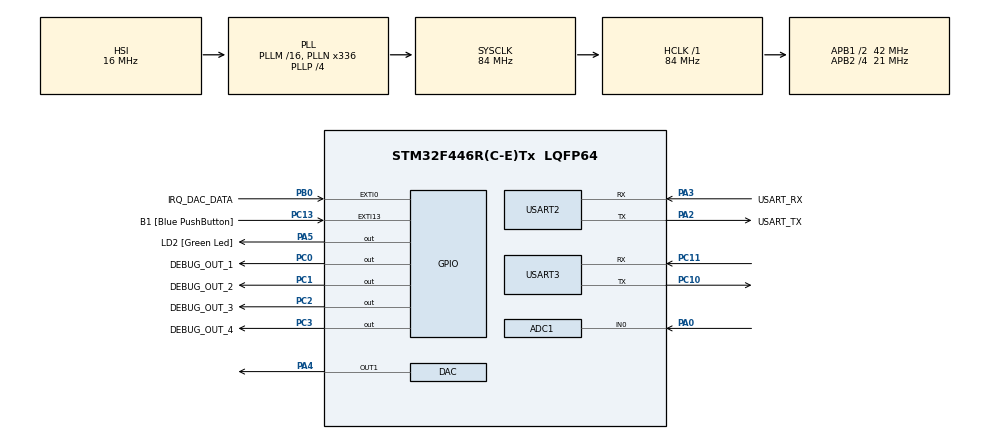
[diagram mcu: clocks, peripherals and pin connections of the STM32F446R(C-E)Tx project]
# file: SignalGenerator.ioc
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ADC1.Channel-1\#ChannelRegularConversion=ADC_CHANNEL_0
ADC1.Channel-10\#ChannelRegularConversion=ADC_CHANNEL_0
ADC1.Channel-11\#ChannelRegularConversion=ADC_CHANNEL_0
ADC1.Channel-12\#ChannelRegularConversion=ADC_CHANNEL_0
ADC1.Channel-13\#ChannelRegularConversion=ADC_CHANNEL_0
ADC1.Channel-14\#ChannelRegularConversion=ADC_CHANNEL_0
ADC1.Channel-15\#ChannelRegularConversion=ADC_CHANNEL_0
ADC1.Channel-16\#ChannelRegularConversion=ADC_CHANNEL_0
ADC1.Channel-2\#ChannelRegularConversion=ADC_CHANNEL_0
ADC1.Channel-3\#ChannelRegularConversion=ADC_CHANNEL_0
ADC1.Channel-4\#ChannelRegularConversion=ADC_CHANNEL_0
ADC1.Channel-5\#ChannelRegularConversion=ADC_CHANNEL_0
ADC1.Channel-6\#ChannelRegularConversion=ADC_CHANNEL_0
ADC1.Channel-7\#ChannelRegularConversion=ADC_CHANNEL_0
ADC1.Channel-8\#ChannelRegularConversion=ADC_CHANNEL_0
ADC1.Channel-9\#ChannelRegularConversion=ADC_CHANNEL_0
ADC1.ClockPrescaler=ADC_CLOCK_SYNC_PCLK_DIV8
ADC1.ContinuousConvMode=ENABLE
ADC1.DMAContinuousRequests=ENABLE
ADC1.NbrOfConversion=16
ADC1.NbrOfConversionFlag=1
ADC1.Rank-1\#ChannelRegularConversion=1
ADC1.Rank-10\#ChannelRegularConversion=10
ADC1.Rank-11\#ChannelRegularConversion=11
ADC1.Rank-12\#ChannelRegularConversion=12
ADC1.Rank-13\#ChannelRegularConversion=13
ADC1.Rank-14\#ChannelRegularConversion=14
ADC1.Rank-15\#ChannelRegularConversion=15
ADC1.Rank-16\#ChannelRegularConversion=16
ADC1.Rank-2\#ChannelRegularConversion=2
ADC1.Rank-3\#ChannelRegularConversion=3
ADC1.Rank-4\#ChannelRegularConversion=4
ADC1.Rank-5\#ChannelRegularConversion=5
ADC1.Rank-6\#ChannelRegularConversion=6
ADC1.Rank-7\#ChannelRegularConversion=7
ADC1.Rank-8\#ChannelRegularConversion=8
ADC1.Rank-9\#ChannelRegularConversion=9
ADC1.Resolution=ADC_RESOLUTION_8B
ADC1.SamplingTime-1\#ChannelRegularConversion=ADC_SAMPLETIME_480CYCLES
ADC1.SamplingTime-10\#ChannelRegularConversion=ADC_SAMPLETIME_3CYCLES
ADC1.SamplingTime-11\#ChannelRegularConversion=ADC_SAMPLETIME_3CYCLES
ADC1.SamplingTime-12\#ChannelRegularConversion=ADC_SAMPLETIME_3CYCLES
ADC1.SamplingTime-13\#ChannelRegularConversion=ADC_SAMPLETIME_3CYCLES
ADC1.SamplingTime-14\#ChannelRegularConversion=ADC_SAMPLETIME_3CYCLES
ADC1.SamplingTime-15\#ChannelRegularConversion=ADC_SAMPLETIME_3CYCLES
ADC1.SamplingTime-16\#ChannelRegularConversion=ADC_SAMPLETIME_3CYCLES
ADC1.SamplingTime-2\#ChannelRegularConversion=ADC_SAMPLETIME_3CYCLES
ADC1.SamplingTime-3\#ChannelRegularConversion=ADC_SAMPLETIME_3CYCLES
ADC1.SamplingTime-4\#ChannelRegularConversion=ADC_SAMPLETIME_3CYCLES
ADC1.SamplingTime-5\#ChannelRegularConversion=ADC_SAMPLETIME_3CYCLES
ADC1.SamplingTime-6\#ChannelRegularConversion=ADC_SAMPLETIME_3CYCLES
ADC1.SamplingTime-7\#ChannelRegularConversion=ADC_SAMPLETIME_3CYCLES
ADC1.SamplingTime-8\#ChannelRegularConversion=ADC_SAMPLETIME_3CYCLES
ADC1.SamplingTime-9\#ChannelRegularConversion=ADC_SAMPLETIME_3CYCLES
ADC1.master=1
Dma.ADC1.0.Direction=DMA_PERIPH_TO_MEMORY
Dma.ADC1.0.FIFOMode=DMA_FIFOMODE_DISABLE
Dma.ADC1.0.Instance=DMA2_Stream0
Dma.ADC1.0.MemDataAlignment=DMA_MDATAALIGN_HALFWORD
Dma.ADC1.0.MemInc=DMA_MINC_ENABLE
Dma.ADC1.0.Mode=DMA_NORMAL
Dma.ADC1.0.PeriphDataAlignment=DMA_PDATAALIGN_HALFWORD
Dma.ADC1.0.PeriphInc=DMA_PINC_DISABLE
Dma.ADC1.0.Priority=DMA_PRIORITY_MEDIUM
Dma.Request0=ADC1
Mcu.Family=STM32F4
Mcu.Name=STM32F446R(C-E)Tx
Mcu.Package=LQFP64
NVIC.DMA2_Stream0_IRQn=true\:0\:0\:false\:false\:true\:false\:true
NVIC.EXTI0_IRQn=true\:0\:0\:false\:false\:true\:true\:true
NVIC.PriorityGroup=NVIC_PRIORITYGROUP_0
NVIC.TIM6_DAC_IRQn=true\:0\:0\:false\:false\:true\:true\:true
NVIC.TIM7_IRQn=true\:0\:0\:false\:false\:true\:true\:true
PA0-WKUP.Signal=ADCx_IN0
PA13.GPIO_Label=TMS
PA13.Mode=Serial_Wire
PA13.Signal=SYS_JTMS-SWDIO
PA14.GPIO_Label=TCK
PA14.Mode=Serial_Wire
PA14.Signal=SYS_JTCK-SWCLK
PA2.GPIO_Label=USART_TX
PA2.Mode=Asynchronous
PA2.Signal=USART2_TX
PA3.GPIO_Label=USART_RX
PA3.Mode=Asynchronous
PA3.Signal=USART2_RX
PA4.Signal=COMP_DAC1_group
PA5.GPIO_Label=LD2 [Green Led]
PA5.Signal=GPIO_Output
PB0.GPIO_Label=IRQ_DAC_DATA
PB0.Signal=GPXTI0
PB3.GPIO_Label=SWO
PB3.Signal=SYS_JTDO-SWO
PC0.GPIO_Label=DEBUG_OUT_1
PC0.Signal=GPIO_Output
PC1.GPIO_Label=DEBUG_OUT_2
PC1.Signal=GPIO_Output
PC10.Mode=Asynchronous
PC10.Signal=USART3_TX
PC11.Mode=Asynchronous
PC11.Signal=USART3_RX
PC13.GPIO_Label=B1 [Blue PushButton]
PC13.GPIO_ModeDefaultEXTI=GPIO_MODE_IT_FALLING
PC13.Signal=GPXTI13
PC14-OSC32_IN.Mode=LSE-External-Oscillator
PC14-OSC32_IN.Signal=RCC_OSC32_IN
PC15-OSC32_OUT.Mode=LSE-External-Oscillator
PC15-OSC32_OUT.Signal=RCC_OSC32_OUT
PC2.GPIO_Label=DEBUG_OUT_3
PC2.Signal=GPIO_Output
PC3.GPIO_Label=DEBUG_OUT_4
PC3.Signal=GPIO_Output
PH0-OSC_IN.Mode=HSE-External-Oscillator
PH0-OSC_IN.Signal=RCC_OSC_IN
PH1-OSC_OUT.Mode=HSE-External-Oscillator
PH1-OSC_OUT.Signal=RCC_OSC_OUT
ProjectManager.HeapSize=0x200
ProjectManager.StackSize=0x400
ProjectManager.TargetToolchain=SW4STM32
RCC.48MHZClocksFreq_Value=84000000
RCC.AHBFreq_Value=84000000
RCC.APB1CLKDivider=RCC_HCLK_DIV2
RCC.APB1Freq_Value=42000000
RCC.APB1TimFreq_Value=84000000
RCC.APB2CLKDivider=RCC_HCLK_DIV4
RCC.APB2Freq_Value=21000000
RCC.APB2TimFreq_Value=42000000
RCC.CortexFreq_Value=84000000
RCC.FLatency-AdvancedSettings=FLASH_LATENCY_2
RCC.HCLKFreq_Value=84000000
RCC.HSE_VALUE=8000000
RCC.HSI_VALUE=16000000
RCC.PLLN=336
RCC.PLLP=RCC_PLLP_DIV4
RCC.SYSCLKFreq_VALUE=84000000
RCC.SYSCLKSource=RCC_SYSCLKSOURCE_PLLCLK
RCC.USBFreq_Value=168000000
RCC.VCOOutputFreq_Value=336000000
SH.ADCx_IN0.0=ADC1_IN0,IN0
SH.COMP_DAC1_group.0=DAC_OUT1,DAC_OUT1
USART2.VirtualMode=VM_ASYNC
USART3.VirtualMode=VM_ASYNC
VP_TIM7_VS_ClockSourceINT.Mode=Enable_Timer
board=NUCLEO-F446RE

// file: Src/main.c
/* USER CODE BEGIN Header */
/**
  ******************************************************************************
  * @file           : main.c
  * @brief          : Main program body
  ******************************************************************************
  * @attention
  *
  * <h2><center>&copy; Copyright (c) 2019 STMicroelectronics.
  * All rights reserved.</center></h2>
  *
  * This software component is licensed by ST under BSD 3-Clause license,
  * the "License"; You may not use this file except in compliance with the
  * License. You may obtain a copy of the License at:
  *                        opensource.org/licenses/BSD-3-Clause
  *
  ******************************************************************************
  */
/* USER CODE END Header */

#include "main.h"

/* USER CODE BEGIN Includes */
#include "stdio.h"
/* USER CODE END Includes */

/* USER CODE BEGIN PD */
#define NRB_OF_CONVERSION 16
/* USER CODE END PD */

ADC_HandleTypeDef hadc1;
DMA_HandleTypeDef hdma_adc1;

DAC_HandleTypeDef hdac;

TIM_HandleTypeDef htim7;

UART_HandleTypeDef huart2;
UART_HandleTypeDef huart3;

/* USER CODE BEGIN PV */
uint8_t adc_buffer[4096];
uint8_t uart_buffer[4096];
uint16_t adc_buffer_index = 0;
uint16_t uart_buffer_index = 0;
char debug_buffer[128] = {0};
uint8_t irq_data_from_dac = 0x0;
/* USER CODE END PV */

void SystemClock_Config(void);
static void MX_GPIO_Init(void);
static void MX_DMA_Init(void);
static void MX_DAC_Init(void);
static void MX_USART2_UART_Init(void);
static void MX_USART3_UART_Init(void);
static void MX_TIM7_Init(void);
static void MX_ADC1_Init(void);

int main(void)
{

  /* MCU Configuration--------------------------------------------------------*/

  /* Reset of all peripherals, Initializes the Flash interface and the Systick. */
  HAL_Init();

  /* Configure the system clock */
  SystemClock_Config();

  /* Initialize all configured peripherals */
  MX_GPIO_Init();
  MX_DMA_Init();
  MX_DAC_Init();
  MX_USART2_UART_Init();
  MX_USART3_UART_Init();
  MX_TIM7_Init();
  MX_ADC1_Init();
  /* USER CODE BEGIN 2 */

  // HAL_DAC_Start(&hdac, DAC_CHANNEL_1);
  // HAL_DAC_SetValue(&hdac, DAC_CHANNEL_1, DAC_ALIGN_12B_R, 2048);

  memset(adc_buffer, 0, 4096);
  memset(uart_buffer, 0, 4096);

  /* USER CODE END 2 */

  /* Infinite loop */
  while (1)
  {

    /* USER CODE BEGIN 3 */
	  if (0x1 == irq_data_from_dac) {
		  HAL_ADC_Start_DMA(&hadc1, (uint32_t *)&adc_buffer[adc_buffer_index], NRB_OF_CONVERSION);
		  irq_data_from_dac = 0x0;
	  }
  }
  /* USER CODE END 3 */
}

void SystemClock_Config(void)
{
  RCC_OscInitTypeDef RCC_OscInitStruct = {0};
  RCC_ClkInitTypeDef RCC_ClkInitStruct = {0};

  /** Configure the main internal regulator output voltage
  */
  __HAL_RCC_PWR_CLK_ENABLE();
  __HAL_PWR_VOLTAGESCALING_CONFIG(PWR_REGULATOR_VOLTAGE_SCALE3);
  /** Initializes the CPU, AHB and APB busses clocks
  */
  RCC_OscInitStruct.OscillatorType = RCC_OSCILLATORTYPE_HSI;
  RCC_OscInitStruct.HSIState = RCC_HSI_ON;
  RCC_OscInitStruct.HSICalibrationValue = RCC_HSICALIBRATION_DEFAULT;
  RCC_OscInitStruct.PLL.PLLState = RCC_PLL_ON;
  RCC_OscInitStruct.PLL.PLLSource = RCC_PLLSOURCE_HSI;
  RCC_OscInitStruct.PLL.PLLM = 16;
  RCC_OscInitStruct.PLL.PLLN = 336;
  RCC_OscInitStruct.PLL.PLLP = RCC_PLLP_DIV4;
  RCC_OscInitStruct.PLL.PLLQ = 2;
  RCC_OscInitStruct.PLL.PLLR = 2;
  if (HAL_RCC_OscConfig(&RCC_OscInitStruct) != HAL_OK)
  {
    Error_Handler();
  }
  /** Initializes the CPU, AHB and APB busses clocks
  */
  RCC_ClkInitStruct.ClockType = RCC_CLOCKTYPE_HCLK|RCC_CLOCKTYPE_SYSCLK
                              |RCC_CLOCKTYPE_PCLK1|RCC_CLOCKTYPE_PCLK2;
  RCC_ClkInitStruct.SYSCLKSource = RCC_SYSCLKSOURCE_PLLCLK;
  RCC_ClkInitStruct.AHBCLKDivider = RCC_SYSCLK_DIV1;
  RCC_ClkInitStruct.APB1CLKDivider = RCC_HCLK_DIV2;
  RCC_ClkInitStruct.APB2CLKDivider = RCC_HCLK_DIV4;

  if (HAL_RCC_ClockConfig(&RCC_ClkInitStruct, FLASH_LATENCY_2) != HAL_OK)
  {
    Error_Handler();
  }
}

static void MX_ADC1_Init(void)
{

  ADC_ChannelConfTypeDef sConfig = {0};

  /** Configure the global features of the ADC (Clock, Resolution, Data Alignment and number of conversion)
  */
  hadc1.Instance = ADC1;
  hadc1.Init.ClockPrescaler = ADC_CLOCK_SYNC_PCLK_DIV8;
  hadc1.Init.Resolution = ADC_RESOLUTION_8B;
  hadc1.Init.ScanConvMode = ENABLE;
  hadc1.Init.ContinuousConvMode = ENABLE;
  hadc1.Init.DiscontinuousConvMode = DISABLE;
  hadc1.Init.ExternalTrigConvEdge = ADC_EXTERNALTRIGCONVEDGE_NONE;
  hadc1.Init.ExternalTrigConv = ADC_SOFTWARE_START;
  hadc1.Init.DataAlign = ADC_DATAALIGN_RIGHT;
  hadc1.Init.NbrOfConversion = 16;
  hadc1.Init.DMAContinuousRequests = ENABLE;
  hadc1.Init.EOCSelection = ADC_EOC_SINGLE_CONV;
  if (HAL_ADC_Init(&hadc1) != HAL_OK)
  {
    Error_Handler();
  }
  /** Configure for the selected ADC regular channel its corresponding rank in the sequencer and its sample time.
  */
  sConfig.Channel = ADC_CHANNEL_0;
  sConfig.Rank = 1;
  sConfig.SamplingTime = ADC_SAMPLETIME_480CYCLES;
  if (HAL_ADC_ConfigChannel(&hadc1, &sConfig) != HAL_OK)
  {
    Error_Handler();
  }
  /** Configure for the selected ADC regular channel its corresponding rank in the sequencer and its sample time.
  */
  sConfig.Rank = 2;
  sConfig.SamplingTime = ADC_SAMPLETIME_3CYCLES;
  if (HAL_ADC_ConfigChannel(&hadc1, &sConfig) != HAL_OK)
  {
    Error_Handler();
  }
  /** Configure for the selected ADC regular channel its corresponding rank in the sequencer and its sample time.
  */
  sConfig.Rank = 3;
  if (HAL_ADC_ConfigChannel(&hadc1, &sConfig) != HAL_OK)
  {
    Error_Handler();
  }
  /** Configure for the selected ADC regular channel its corresponding rank in the sequencer and its sample time.
  */
  sConfig.Rank = 4;
  if (HAL_ADC_ConfigChannel(&hadc1, &sConfig) != HAL_OK)
  {
    Error_Handler();
  }
  /** Configure for the selected ADC regular channel its corresponding rank in the sequencer and its sample time.
  */
  sConfig.Rank = 5;
  if (HAL_ADC_ConfigChannel(&hadc1, &sConfig) != HAL_OK)
  {
    Error_Handler();
  }
  /** Configure for the selected ADC regular channel its corresponding rank in the sequencer and its sample time.
  */
  sConfig.Rank = 6;
  if (HAL_ADC_ConfigChannel(&hadc1, &sConfig) != HAL_OK)
  {
    Error_Handler();
  }
  /** Configure for the selected ADC regular channel its corresponding rank in the sequencer and its sample time.
  */
  sConfig.Rank = 7;
  if (HAL_ADC_ConfigChannel(&hadc1, &sConfig) != HAL_OK)
  {
    Error_Handler();
  }
  /** Configure for the selected ADC regular channel its corresponding rank in the sequencer and its sample time.
  */
  sConfig.Rank = 8;
  if (HAL_ADC_ConfigChannel(&hadc1, &sConfig) != HAL_OK)
  {
    Error_Handler();
  }
  /** Configure for the selected ADC regular channel its corresponding rank in the sequencer and its sample time.
  */
  sConfig.Rank = 9;
  if (HAL_ADC_ConfigChannel(&hadc1, &sConfig) != HAL_OK)
  {
    Error_Handler();
  }
  /** Configure for the selected ADC regular channel its corresponding rank in the sequencer and its sample time.
  */
  sConfig.Rank = 10;
  if (HAL_ADC_ConfigChannel(&hadc1, &sConfig) != HAL_OK)
  {
    Error_Handler();
  }
  /** Configure for the selected ADC regular channel its corresponding rank in the sequencer and its sample time.
  */
  sConfig.Rank = 11;
  if (HAL_ADC_ConfigChannel(&hadc1, &sConfig) != HAL_OK)
  {
    Error_Handler();
  }
  /** Configure for the selected ADC regular channel its corresponding rank in the sequencer and its sample time.
  */
  sConfig.Rank = 12;
  if (HAL_ADC_ConfigChannel(&hadc1, &sConfig) != HAL_OK)
  {
    Error_Handler();
  }
  /** Configure for the selected ADC regular channel its corresponding rank in the sequencer and its sample time.
  */
  sConfig.Rank = 13;
  if (HAL_ADC_ConfigChannel(&hadc1, &sConfig) != HAL_OK)
  {
    Error_Handler();
  }
  /** Configure for the selected ADC regular channel its corresponding rank in the sequencer and its sample time.
  */
  sConfig.Rank = 14;
  if (HAL_ADC_ConfigChannel(&hadc1, &sConfig) != HAL_OK)
  {
    Error_Handler();
  }
  /** Configure for the selected ADC regular channel its corresponding rank in the sequencer and its sample time.
  */
  sConfig.Rank = 15;
  if (HAL_ADC_ConfigChannel(&hadc1, &sConfig) != HAL_OK)
  {
    Error_Handler();
  }
  /** Configure for the selected ADC regular channel its corresponding rank in the sequencer and its sample time.
  */
  sConfig.Rank = 16;
  if (HAL_ADC_ConfigChannel(&hadc1, &sConfig) != HAL_OK)
  {
    Error_Handler();
  }

}

static void MX_DAC_Init(void)
{

  DAC_ChannelConfTypeDef sConfig = {0};

  /** DAC Initialization
  */
  hdac.Instance = DAC;
  if (HAL_DAC_Init(&hdac) != HAL_OK)
  {
    Error_Handler();
  }
  /** DAC channel OUT1 config
  */
  sConfig.DAC_Trigger = DAC_TRIGGER_NONE;
  sConfig.DAC_OutputBuffer = DAC_OUTPUTBUFFER_ENABLE;
  if (HAL_DAC_ConfigChannel(&hdac, &sConfig, DAC_CHANNEL_1) != HAL_OK)
  {
    Error_Handler();
  }

}

static void MX_TIM7_Init(void)
{

  TIM_MasterConfigTypeDef sMasterConfig = {0};

  htim7.Instance = TIM7;
  htim7.Init.Prescaler = 0;
  htim7.Init.CounterMode = TIM_COUNTERMODE_UP;
  htim7.Init.Period = 0;
  htim7.Init.AutoReloadPreload = TIM_AUTORELOAD_PRELOAD_DISABLE;
  if (HAL_TIM_Base_Init(&htim7) != HAL_OK)
  {
    Error_Handler();
  }
  sMasterConfig.MasterOutputTrigger = TIM_TRGO_RESET;
  sMasterConfig.MasterSlaveMode = TIM_MASTERSLAVEMODE_DISABLE;
  if (HAL_TIMEx_MasterConfigSynchronization(&htim7, &sMasterConfig) != HAL_OK)
  {
    Error_Handler();
  }

}

static void MX_USART2_UART_Init(void)
{

  huart2.Instance = USART2;
  huart2.Init.BaudRate = 115200;
  huart2.Init.WordLength = UART_WORDLENGTH_8B;
  huart2.Init.StopBits = UART_STOPBITS_1;
  huart2.Init.Parity = UART_PARITY_NONE;
  huart2.Init.Mode = UART_MODE_TX_RX;
  huart2.Init.HwFlowCtl = UART_HWCONTROL_NONE;
  huart2.Init.OverSampling = UART_OVERSAMPLING_16;
  if (HAL_UART_Init(&huart2) != HAL_OK)
  {
    Error_Handler();
  }

}

static void MX_USART3_UART_Init(void)
{

  huart3.Instance = USART3;
  huart3.Init.BaudRate = 115200;
  huart3.Init.WordLength = UART_WORDLENGTH_8B;
  huart3.Init.StopBits = UART_STOPBITS_1;
  huart3.Init.Parity = UART_PARITY_NONE;
  huart3.Init.Mode = UART_MODE_TX_RX;
  huart3.Init.HwFlowCtl = UART_HWCONTROL_NONE;
  huart3.Init.OverSampling = UART_OVERSAMPLING_16;
  if (HAL_UART_Init(&huart3) != HAL_OK)
  {
    Error_Handler();
  }

}

static void MX_DMA_Init(void)
{
  /* DMA controller clock enable */
  __HAL_RCC_DMA2_CLK_ENABLE();

  /* DMA interrupt init */
  /* DMA2_Stream0_IRQn interrupt configuration */
  HAL_NVIC_SetPriority(DMA2_Stream0_IRQn, 0, 0);
  HAL_NVIC_EnableIRQ(DMA2_Stream0_IRQn);

}

static void MX_GPIO_Init(void)
{
  GPIO_InitTypeDef GPIO_InitStruct = {0};

  /* GPIO Ports Clock Enable */
  __HAL_RCC_GPIOC_CLK_ENABLE();
  __HAL_RCC_GPIOH_CLK_ENABLE();
  __HAL_RCC_GPIOA_CLK_ENABLE();
  __HAL_RCC_GPIOB_CLK_ENABLE();

  /*Configure GPIO pin Output Level */
  HAL_GPIO_WritePin(GPIOC, DEBUG_OUT_1_Pin|DEBUG_OUT_2_Pin|DEBUG_OUT_3_Pin|DEBUG_OUT_4_Pin, GPIO_PIN_RESET);

  /*Configure GPIO pin Output Level */
  HAL_GPIO_WritePin(LD2_GPIO_Port, LD2_Pin, GPIO_PIN_RESET);

  /*Configure GPIO pin : B1_Pin */
  GPIO_InitStruct.Pin = B1_Pin;
  GPIO_InitStruct.Mode = GPIO_MODE_IT_FALLING;
  GPIO_InitStruct.Pull = GPIO_NOPULL;
  HAL_GPIO_Init(B1_GPIO_Port, &GPIO_InitStruct);

  /*Configure GPIO pins : DEBUG_OUT_1_Pin DEBUG_OUT_2_Pin DEBUG_OUT_3_Pin DEBUG_OUT_4_Pin */
  GPIO_InitStruct.Pin = DEBUG_OUT_1_Pin|DEBUG_OUT_2_Pin|DEBUG_OUT_3_Pin|DEBUG_OUT_4_Pin;
  GPIO_InitStruct.Mode = GPIO_MODE_OUTPUT_PP;
  GPIO_InitStruct.Pull = GPIO_NOPULL;
  GPIO_InitStruct.Speed = GPIO_SPEED_FREQ_LOW;
  HAL_GPIO_Init(GPIOC, &GPIO_InitStruct);

  /*Configure GPIO pin : LD2_Pin */
  GPIO_InitStruct.Pin = LD2_Pin;
  GPIO_InitStruct.Mode = GPIO_MODE_OUTPUT_PP;
  GPIO_InitStruct.Pull = GPIO_NOPULL;
  GPIO_InitStruct.Speed = GPIO_SPEED_FREQ_LOW;
  HAL_GPIO_Init(LD2_GPIO_Port, &GPIO_InitStruct);

  /*Configure GPIO pin : IRQ_DAC_DATA_Pin */
  GPIO_InitStruct.Pin = IRQ_DAC_DATA_Pin;
  GPIO_InitStruct.Mode = GPIO_MODE_IT_RISING;
  GPIO_InitStruct.Pull = GPIO_NOPULL;
  HAL_GPIO_Init(IRQ_DAC_DATA_GPIO_Port, &GPIO_InitStruct);

  /* EXTI interrupt init*/
  HAL_NVIC_SetPriority(EXTI0_IRQn, 0, 0);
  HAL_NVIC_EnableIRQ(EXTI0_IRQn);

}

/* USER CODE BEGIN 4 */

void HAL_ADC_ConvCpltCallback(ADC_HandleTypeDef* hadc)
{
	HAL_GPIO_WritePin(GPIOC,DEBUG_OUT_1_Pin,1);
	HAL_GPIO_WritePin(GPIOC,DEBUG_OUT_1_Pin,0);

	/* Prevent unused argument(s) compilation warning */
	UNUSED(hadc);

	if (adc_buffer_index < 4080) {
		HAL_GPIO_WritePin(GPIOC,DEBUG_OUT_3_Pin,1);
		adc_buffer_index += NRB_OF_CONVERSION;
		HAL_ADC_Start_DMA(&hadc1, (uint32_t *)(&adc_buffer[adc_buffer_index]), NRB_OF_CONVERSION);
		HAL_GPIO_WritePin(GPIOC,DEBUG_OUT_3_Pin,0);
	} else {
		// memset(adc_buffer, 100, 4096);
		/*for (uint8_t idx = 0; idx < 4096; idx++) {
			// Vref / (2^12 - 1)
			adc_buffer[idx] = 0.0008058 * adc_buffer[idx];
		}*/

		// uint16_t summery_of_samples = 0;
		if (uart_buffer_index < 4096) {
			for (int idx = 0; idx < 4096; idx += 16) {
				/*for (int i = idx; i < idx + 16; i++) {
					summery_of_samples += adc_buffer[i];
				}
				uart_buffer[uart_buffer_index] = summery_of_samples / 16;*/
				uart_buffer[uart_buffer_index] = adc_buffer[idx];
				uart_buffer_index++;
			}
			adc_buffer_index = 0;
			HAL_ADC_Start_DMA(&hadc1, (uint32_t *)(&adc_buffer[adc_buffer_index]), NRB_OF_CONVERSION);
		} else {
			HAL_UART_Transmit(&huart3, (uint8_t *)&uart_buffer[0], 4096, HAL_MAX_DELAY);
		}
	}
}

/* USER CODE END 4 */

void Error_Handler(void)
{
}

/************************ (C) COPYRIGHT STMicroelectronics *****END OF FILE****/
